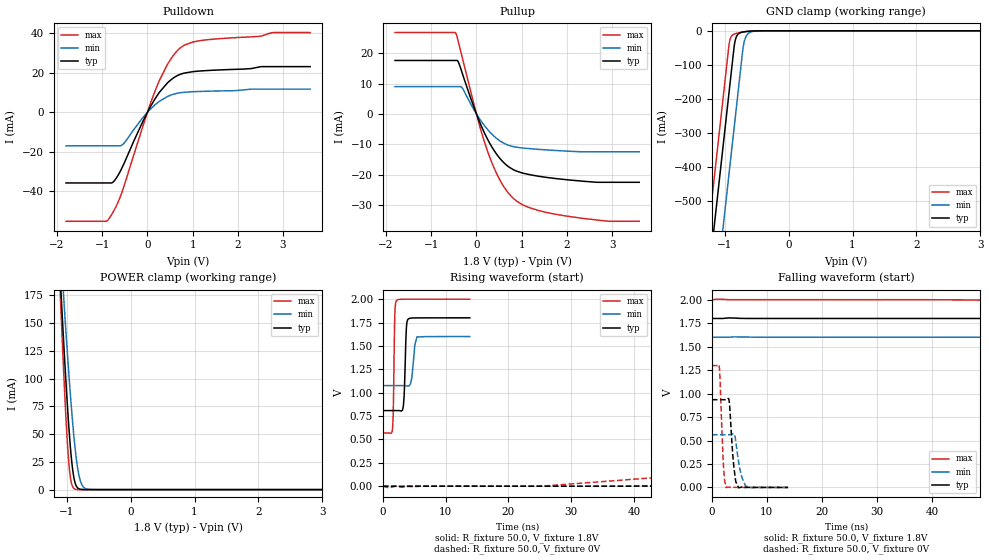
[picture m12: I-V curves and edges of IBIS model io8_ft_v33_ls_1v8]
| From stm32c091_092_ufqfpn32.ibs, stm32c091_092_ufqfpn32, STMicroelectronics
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[Model]   io8_ft_v33_ls_1v8
Model_type I/O
Polarity   Non-Inverting
Enable   Active-Low
| CAP_THRESHOLD on pad IOFT is "UDTCAPC" :
| Rising=30.0% of vddiom   Falling=70.0% of vddiom
| C_comp min and max val. don't necessarily correlate with the min and max pvt
| but are the smallest and greatest pad capacitance found.
| var   typ   min   max
C_comp   1.89034pF  1.85691pF  1.94197pF
|C_comp_pullup   1.06861pF  1.07351pF  1.05615pF
|C_comp_pulldown   821.73685fF  783.40215fF  885.81545fF
Vinl = 800.0mV
Vinh = 1.0V
Vmeas = 900.0mV   | Reference voltage for timing measurements
Cref  = 50.0pF   | Timing specification test load capacitance value
Rref  = 1.0MOhm   | Timing specification test load resistance value
Vref  = 990.0mV   | Timing specification test load voltage
[Model Spec]
| TIME_THRESHOLD on pin ZIV33M is "CMOS" :
| Rising=50.0% of vddiom   Falling=50.0% of vddiom
Vinl 728.70000mV 652.70000mV 817.70000mV
Vinh 1.06430V 953.30000mV 1.16330V
| variable   typ   min   max
[Temperature Range] 25.0 125.0 -40.0
| variable   typ   min   max
[Voltage Range] 1.8V 1.6V 2.0V
| variable   typ   min   max
[POWER Clamp Reference] 1.8V 1.6V 2.0V
| variable   typ   min   max
[GND Clamp Reference] 0V 0V 0V
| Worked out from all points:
|   slope of the pulldown table from 0 to 0.27 V, typ, clamps not added: 26.3 ohm
|   slope of the pullup table from 0 to 0.27 V, typ, clamps not added: 30 ohm
|   GND clamp passes 1 mA (typ) near -0.61 V on its own axis
|   POWER clamp passes 1 mA (typ) near -0.81 V on its own axis
|   rising waveform, R_fixture 50.0, V_fixture 1.8V: 20-80 % time 274ps typ, 430ps min, 192ps max; typ from 0.809 V to 1.8 V
|   falling waveform, R_fixture 50.0, V_fixture 1.8V: 20-80 % time 126ns typ, 226ns min, 65ns max; typ from 1.8 V to 0.809 V
|   rising waveform, R_fixture 50.0, V_fixture 0V: 20-80 % time 132ns typ, 241ns min, 72.3ns max; typ from 0 V to 0.935 V
|   falling waveform, R_fixture 50.0, V_fixture 0V: 20-80 % time 699ps typ, 988ps min, 528ps max; typ from 0.935 V to 0 V
[POWER Clamp]
-1.8V     1.053A     933.5mA    1.262A
-1.1V     191.1mA    222.7mA    177.1mA
-1.08V    169mA      204.2mA    149.9mA
-1.05V    136.9mA    176.9mA    110.9mA
-1.01V    96.55mA    141.6mA    64.02mA
-980mV    68.91mA    116.4mA    35.23mA
-940mV    37.57mA    84.83mA    10.65mA
-880mV    8.969mA    44.34mA    807.4uA
-830mV    1.697mA    20.19mA    75.79uA
-790mV    394.2uA    8.787mA    11.25uA
-670mV    4.467uA    374.2uA    36.56nA
3.6V      0A         0A         0A
[GND Clamp]
-1.8V     -1.658A    -1.897A    -1.517A
-1.24V    -706mA     -945.3mA   -564.6mA
-1.05V    -383mA     -622.3mA   -241.6mA
-930mV    -179mA     -418.3mA   -38.91mA
-910mV    -145mA     -384.3mA   -22.02mA
-870mV    -77.01mA   -316.3mA   -11.35mA
-850mV    -44.09mA   -282.3mA   -9.519mA
-820mV    -19mA      -231.3mA   -7.801mA
-710mV    -3.257mA   -47.82mA   -3.606mA
-660mV    -1.938mA   -14.77mA   -2.175mA
-590mV    -790.4uA   -3.415mA   -786.7uA
3.6V      506.8pA    48.18nA    364.4pA
| variable   typ   min   max
[Pullup Reference] 1.8V 1.6V 2.0V
| variable   typ   min   max
[Pulldown Reference] 0V 0V 0V
[Pullup]
-1.8V     17.6mA     8.988mA    26.78mA
-460mV    17.6mA     8.988mA    26.69mA
-410mV    17.37mA    8.988mA    24.39mA
-320mV    13.71mA    8.672mA    18.93mA
50mV      -1.901mA   -1.175mA   -2.8mA
270mV     -8.99mA    -5.518mA   -13.26mA
540mV     -15mA      -9.056mA   -22.31mA
870mV     -18.72mA   -10.91mA   -28.48mA
1.18V     -19.99mA   -11.43mA   -30.89mA
1.8V      -21.34mA   -12.07mA   -33.14mA
2.94V     -22.49mA   -12.46mA   -35.33mA
3.6V      -22.49mA   -12.46mA   -35.33mA
[Pulldown]
-1.8V     -35.76mA   -16.97mA   -55.17mA
-910mV    -35.76mA   -16.97mA   -55.17mA
-830mV    -35.76mA   -16.97mA   -53.18mA
-720mV    -34.31mA   -16.97mA   -48.86mA
-540mV    -27.04mA   -16.13mA   -38.89mA
-120mV    -5.569mA   -3.236mA   -8.457mA
230mV     8.974mA    4.965mA    14.24mA
520mV     16.45mA    8.736mA    27.07mA
750mV     19.43mA    9.977mA    33.01mA
1.37V     21.21mA    10.7mA     36.84mA
2.78V     23.13mA    11.74mA    40.36mA
3.6V      23.13mA    11.74mA    40.37mA
[Ramp]
dV/dt_r 560.82763mV/132.31303ns 336.95652mV/240.80802ns 779.50314mV/72.24927ns
dV/dt_f 594.82143mV/125.92807ns 314.7239mV/225.50641ns 859.15368mV/64.95171ns
R_load = 50.0
| Removed startup time: 0s 0s 0s  .
| Removed end time: 13.85ns.
[Rising Waveform]
R_fixture   = 50.0
V_fixture   = 1.8V
V_fixture_min = 1.6V
V_fixture_max = 2.0V
0s        808.6mV    1.076V     568.1mV
1.5ns     808.6mV    1.076V     591.5mV
1.65ns    808.6mV    1.076V     772.8mV
1.9ns     808.6mV    1.076V     1.816V
2.15ns    808.6mV    1.076V     1.981V
3.25ns    849.5mV    1.076V     1.999V
3.75ns    1.688V     1.073V     1.999V
4ns       1.784V     1.071V     1.999V
5.45ns    1.799V     1.598V     2V
13.85ns   1.8V       1.6V       2V
| Removed startup time: 0s 0s 0s  .
| Removed end time: 2.999us.
[Falling Waveform]
R_fixture   = 50.0
V_fixture   = 1.8V
V_fixture_min = 1.6V
V_fixture_max = 2.0V
0s        1.8V       1.6V       2V
64ns      1.8V       1.6V       1.947V
106ns     1.778V     1.6V       1.448V
153ns     1.607V     1.595V     843.6mV
198ns     1.364V     1.567V     665.5mV
240ns     1.153V     1.522V     614.6mV
286ns     990.1mV    1.446V     593mV
355ns     890.8mV    1.325V     577.9mV
623ns     815.3mV    1.114V     568mV
2.999us   808.6mV    1.075V     568.1mV
| Removed startup time: 0s 0s 0s  .
| Removed end time: 2.999us.
[Rising Waveform]
R_fixture   = 50.0
V_fixture   = 0V
V_fixture_min = 0V
V_fixture_max = 0V
0s        440.8nV    588.7nV    -3.23uV
25ns      -106.2uV   21.19uV    169.2uV
49ns      7.384mV    13.51uV    120.5mV
103ns     151.5mV    9.454mV    793.5mV
144ns     349mV      35.36mV    1.111V
219ns     680mV      142.6mV    1.268V
297ns     845.1mV    274.5mV    1.295V
382ns     910.6mV    397.4mV    1.297V
641ns     935.1mV    543.6mV    1.299V
2.999us   934.7mV    561.6mV    1.299V
| Removed startup time: 0s 0s 0s  .
| Removed end time: 13.85ns.
[Falling Waveform]
R_fixture   = 50.0
V_fixture   = 0V
V_fixture_min = 0V
V_fixture_max = 0V
0s        934.6mV    561.6mV    1.298V
1.35ns    934.6mV    561.6mV    1.286V
2.05ns    934.6mV    561.6mV    296.1mV
2.3ns     934.6mV    561.6mV    81.62mV
2.6ns     934.1mV    561.6mV    -888.2uV
3.15ns    917.6mV    561.4mV    1.898mV
4ns       216.8mV    571.9mV    887.2uV
4.85ns    -709.8uV   274.6mV    566.7uV
6.15ns    601.2uV    15.54mV    224.5uV
13.85ns   -34.36uV   272.5uV    168.5uV
